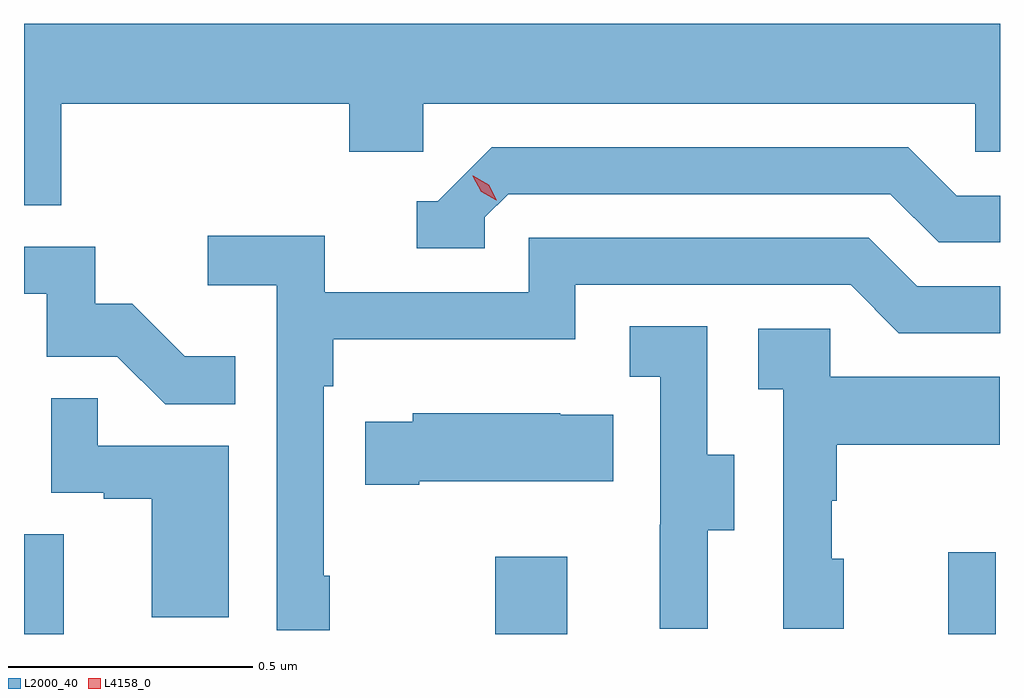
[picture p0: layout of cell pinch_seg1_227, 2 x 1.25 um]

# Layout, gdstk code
import gdstk
lib = gdstk.Library(unit=1e-6, precision=1e-09)
def R(c, l, rs):  # rectangles x0, y0, x1, y1
    for r in rs: c.add(gdstk.rectangle(r[:2], r[2:], *l))
def P(c, l, *ps):  # polygons
    for p in ps: c.add(gdstk.Polygon(p, *l))
L2000_40 = (2000, 40)
L4158_0 = (4158, 0)

pinch_seg1_227 = lib.new_cell('pinch_seg1_227')
R(pinch_seg1_227, L2000_40, [(1010.458,566.629,1010.539,566.834), (1011.424,566.629,1011.571,566.788), (1012.352,566.629,1012.449,566.797)])
P(pinch_seg1_227, L2000_40, [(1010.534,567.716),(1011.125,567.716),(1011.125,567.618),(1011.276,567.618),(1011.276,567.716),(1012.407,567.716),(1012.407,567.618),(1012.458,567.618),(1012.458,567.88),(1010.458,567.88),(1010.458,567.508),(1010.534,567.508)],
  [(1011.402,567.483),(1011.45,567.531),(1012.233,567.531),(1012.332,567.432),(1012.458,567.432),(1012.458,567.528),(1012.369,567.528),(1012.27,567.627),(1011.417,567.627),(1011.306,567.516),(1011.263,567.516),(1011.263,567.42),(1011.402,567.42)],
  [(1011.085,566.749),(1011.072,566.749),(1011.072,567.137),(1011.092,567.137),(1011.092,567.233),(1011.588,567.233),(1011.588,567.345),(1012.152,567.345),(1012.251,567.246),(1012.458,567.246),(1012.458,567.342),(1012.288,567.342),(1012.189,567.441),(1011.492,567.441),(1011.492,567.33),(1011.074,567.33),(1011.074,567.446),(1010.835,567.446),(1010.835,567.344),(1010.976,567.344),(1010.976,566.637),(1011.085,566.637)],
  [(1010.891,567.199),(1010.787,567.199),(1010.68,567.306),(1010.604,567.306),(1010.604,567.423),(1010.458,567.423),(1010.458,567.327),(1010.505,567.327),(1010.505,567.198),(1010.649,567.198),(1010.747,567.1),(1010.891,567.1)],
  [(1011.859,566.842),(1011.913,566.842),(1011.913,566.997),(1011.858,566.997),(1011.858,567.26),(1011.699,567.26),(1011.699,567.157),(1011.762,567.157),(1011.762,566.853),(1011.761,566.853),(1011.761,566.64),(1011.859,566.64)],
  [(1012.138,566.784),(1012.113,566.784),(1012.113,566.903),(1012.123,566.903),(1012.123,567.017),(1012.457,567.017),(1012.457,567.157),(1012.11,567.157),(1012.11,567.255),(1011.963,567.255),(1011.963,567.131),(1012.014,567.131),(1012.014,566.64),(1012.138,566.64)],
  [(1010.878,567.015),(1010.609,567.015),(1010.609,567.113),(1010.514,567.113),(1010.514,566.919),(1010.621,566.919),(1010.621,566.907),(1010.72,566.907),(1010.72,566.664),(1010.878,566.664)],
  [(1011.268,566.942),(1011.665,566.942),(1011.665,567.079),(1011.557,567.079),(1011.557,567.082),(1011.255,567.082),(1011.255,567.064),(1011.157,567.064),(1011.157,566.935),(1011.268,566.935)])
P(pinch_seg1_227, L4158_0, [(1011.426,567.518),(1011.395,567.536),(1011.378,567.568),(1011.378,567.569),(1011.379,567.569),(1011.41,567.55),(1011.427,567.518),(1011.427,567.518)])

lib.write_gds('pinch_seg1_227.gds')
